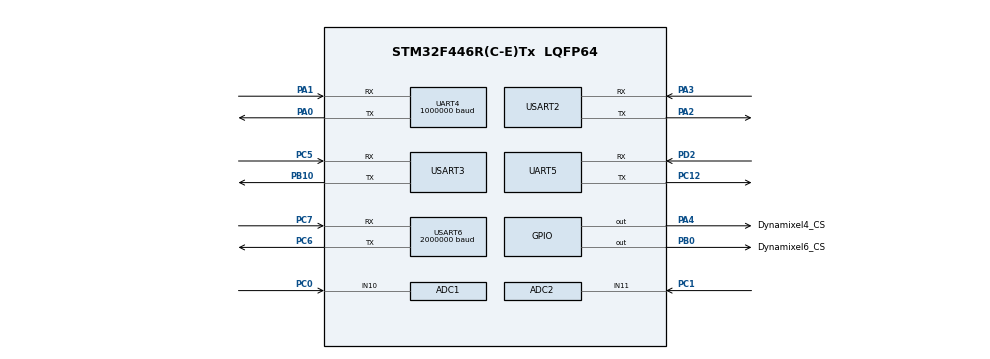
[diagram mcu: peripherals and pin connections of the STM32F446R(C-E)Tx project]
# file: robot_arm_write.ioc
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ADC1.Channel-0\#ChannelRegularConversion=ADC_CHANNEL_10
ADC1.NbrOfConversionFlag=1
ADC1.Rank-0\#ChannelRegularConversion=1
ADC1.SamplingTime-0\#ChannelRegularConversion=ADC_SAMPLETIME_480CYCLES
ADC1.master=1
ADC2.Channel-0\#ChannelRegularConversion=ADC_CHANNEL_11
ADC2.NbrOfConversionFlag=1
ADC2.Rank-0\#ChannelRegularConversion=1
ADC2.SamplingTime-0\#ChannelRegularConversion=ADC_SAMPLETIME_480CYCLES
Dma.Request0=USART6_TX
Dma.Request1=UART4_RX
Dma.Request2=UART4_TX
Dma.Request3=USART6_RX
Dma.Request4=USART2_RX
Dma.Request5=USART2_TX
Dma.UART4_RX.1.Direction=DMA_PERIPH_TO_MEMORY
Dma.UART4_RX.1.FIFOMode=DMA_FIFOMODE_DISABLE
Dma.UART4_RX.1.Instance=DMA1_Stream2
Dma.UART4_RX.1.MemDataAlignment=DMA_MDATAALIGN_BYTE
Dma.UART4_RX.1.MemInc=DMA_MINC_ENABLE
Dma.UART4_RX.1.Mode=DMA_NORMAL
Dma.UART4_RX.1.PeriphDataAlignment=DMA_PDATAALIGN_BYTE
Dma.UART4_RX.1.PeriphInc=DMA_PINC_DISABLE
Dma.UART4_RX.1.Priority=DMA_PRIORITY_LOW
Dma.UART4_TX.2.Direction=DMA_MEMORY_TO_PERIPH
Dma.UART4_TX.2.FIFOMode=DMA_FIFOMODE_DISABLE
Dma.UART4_TX.2.Instance=DMA1_Stream4
Dma.UART4_TX.2.MemDataAlignment=DMA_MDATAALIGN_BYTE
Dma.UART4_TX.2.MemInc=DMA_MINC_ENABLE
Dma.UART4_TX.2.Mode=DMA_NORMAL
Dma.UART4_TX.2.PeriphDataAlignment=DMA_PDATAALIGN_BYTE
Dma.UART4_TX.2.PeriphInc=DMA_PINC_DISABLE
Dma.UART4_TX.2.Priority=DMA_PRIORITY_LOW
Dma.USART2_RX.4.Direction=DMA_PERIPH_TO_MEMORY
Dma.USART2_RX.4.FIFOMode=DMA_FIFOMODE_DISABLE
Dma.USART2_RX.4.Instance=DMA1_Stream5
Dma.USART2_RX.4.MemDataAlignment=DMA_MDATAALIGN_BYTE
Dma.USART2_RX.4.MemInc=DMA_MINC_ENABLE
Dma.USART2_RX.4.Mode=DMA_NORMAL
Dma.USART2_RX.4.PeriphDataAlignment=DMA_PDATAALIGN_BYTE
Dma.USART2_RX.4.PeriphInc=DMA_PINC_DISABLE
Dma.USART2_RX.4.Priority=DMA_PRIORITY_LOW
Dma.USART2_TX.5.Direction=DMA_MEMORY_TO_PERIPH
Dma.USART2_TX.5.FIFOMode=DMA_FIFOMODE_DISABLE
Dma.USART2_TX.5.Instance=DMA1_Stream6
Dma.USART2_TX.5.MemDataAlignment=DMA_MDATAALIGN_BYTE
Dma.USART2_TX.5.MemInc=DMA_MINC_ENABLE
Dma.USART2_TX.5.Mode=DMA_NORMAL
Dma.USART2_TX.5.PeriphDataAlignment=DMA_PDATAALIGN_BYTE
Dma.USART2_TX.5.PeriphInc=DMA_PINC_DISABLE
Dma.USART2_TX.5.Priority=DMA_PRIORITY_LOW
Dma.USART6_RX.3.Direction=DMA_PERIPH_TO_MEMORY
Dma.USART6_RX.3.FIFOMode=DMA_FIFOMODE_DISABLE
Dma.USART6_RX.3.Instance=DMA2_Stream1
Dma.USART6_RX.3.MemDataAlignment=DMA_MDATAALIGN_BYTE
Dma.USART6_RX.3.MemInc=DMA_MINC_ENABLE
Dma.USART6_RX.3.Mode=DMA_NORMAL
Dma.USART6_RX.3.PeriphDataAlignment=DMA_PDATAALIGN_BYTE
Dma.USART6_RX.3.PeriphInc=DMA_PINC_DISABLE
Dma.USART6_RX.3.Priority=DMA_PRIORITY_LOW
Dma.USART6_TX.0.Direction=DMA_MEMORY_TO_PERIPH
Dma.USART6_TX.0.FIFOMode=DMA_FIFOMODE_DISABLE
Dma.USART6_TX.0.Instance=DMA2_Stream6
Dma.USART6_TX.0.MemDataAlignment=DMA_MDATAALIGN_BYTE
Dma.USART6_TX.0.MemInc=DMA_MINC_ENABLE
Dma.USART6_TX.0.Mode=DMA_NORMAL
Dma.USART6_TX.0.PeriphDataAlignment=DMA_PDATAALIGN_BYTE
Dma.USART6_TX.0.PeriphInc=DMA_PINC_DISABLE
Dma.USART6_TX.0.Priority=DMA_PRIORITY_LOW
Mcu.Family=STM32F4
Mcu.Name=STM32F446R(C-E)Tx
Mcu.Package=LQFP64
NVIC.DMA1_Stream2_IRQn=true\:0\:0\:false\:false\:true\:false\:true\:true
NVIC.DMA1_Stream4_IRQn=true\:0\:0\:false\:false\:true\:false\:true\:true
NVIC.DMA1_Stream5_IRQn=true\:0\:0\:false\:false\:true\:false\:true\:true
NVIC.DMA1_Stream6_IRQn=true\:0\:0\:false\:false\:true\:false\:true\:true
NVIC.DMA2_Stream1_IRQn=true\:0\:0\:false\:false\:true\:false\:true\:true
NVIC.DMA2_Stream6_IRQn=true\:0\:0\:false\:false\:true\:false\:true\:true
NVIC.PriorityGroup=NVIC_PRIORITYGROUP_0
NVIC.TIM1_UP_TIM10_IRQn=true\:0\:0\:false\:false\:true\:true\:true\:true
NVIC.UART4_IRQn=true\:0\:0\:false\:false\:true\:true\:true\:true
NVIC.UART5_IRQn=true\:0\:0\:false\:false\:true\:true\:true\:true
NVIC.USART3_IRQn=true\:0\:0\:false\:false\:true\:true\:true\:true
NVIC.USART6_IRQn=true\:0\:0\:false\:false\:true\:true\:true\:true
PA0-WKUP.Mode=Asynchronous
PA0-WKUP.Signal=UART4_TX
PA1.Mode=Asynchronous
PA1.Signal=UART4_RX
PA2.Mode=Asynchronous
PA2.Signal=USART2_TX
PA3.Mode=Asynchronous
PA3.Signal=USART2_RX
PA4.GPIO_Label=Dynamixel4_CS
PA4.GPIO_PuPd=GPIO_PULLDOWN
PA4.GPIO_Speed=GPIO_SPEED_FREQ_HIGH
PA4.Signal=GPIO_Output
PB0.GPIO_Label=Dynamixel6_CS
PB0.GPIO_PuPd=GPIO_PULLDOWN
PB0.GPIO_Speed=GPIO_SPEED_FREQ_HIGH
PB0.Signal=GPIO_Output
PB10.Mode=Asynchronous
PB10.Signal=USART3_TX
PC0.Signal=ADCx_IN10
PC1.Signal=ADCx_IN11
PC12.Mode=Asynchronous
PC12.Signal=UART5_TX
PC14-OSC32_IN.Mode=LSE-External-Oscillator
PC14-OSC32_IN.Signal=RCC_OSC32_IN
PC15-OSC32_OUT.Mode=LSE-External-Oscillator
PC15-OSC32_OUT.Signal=RCC_OSC32_OUT
PC5.Mode=Asynchronous
PC5.Signal=USART3_RX
PC6.Mode=Asynchronous
PC6.Signal=USART6_TX
PC7.Mode=Asynchronous
PC7.Signal=USART6_RX
PD2.Mode=Asynchronous
PD2.Signal=UART5_RX
PH0-OSC_IN.Mode=HSE-External-Clock-Source
PH0-OSC_IN.Signal=RCC_OSC_IN
PH1-OSC_OUT.Mode=HSE-External-Clock-Source
PH1-OSC_OUT.Signal=RCC_OSC_OUT
ProjectManager.HeapSize=0x200
ProjectManager.StackSize=0x400
ProjectManager.TargetToolchain=STM32CubeIDE
RCC.AHBFreq_Value=180000000
RCC.APB1CLKDivider=RCC_HCLK_DIV4
RCC.APB1Freq_Value=45000000
RCC.APB1TimFreq_Value=90000000
RCC.APB2CLKDivider=RCC_HCLK_DIV2
RCC.APB2Freq_Value=90000000
RCC.APB2TimFreq_Value=180000000
RCC.CortexFreq_Value=180000000
RCC.HCLKFreq_Value=180000000
RCC.HSE_VALUE=8000000
RCC.PLLM=4
RCC.PLLN=180
RCC.PLLSourceVirtual=RCC_PLLSOURCE_HSE
RCC.SYSCLKFreq_VALUE=180000000
RCC.SYSCLKSource=RCC_SYSCLKSOURCE_PLLCLK
RCC.USBFreq_Value=180000000
RCC.VCOOutputFreq_Value=360000000
SH.ADCx_IN10.0=ADC1_IN10,IN10
SH.ADCx_IN11.0=ADC2_IN11,IN11
TIM1.Period=60000
TIM1.Prescaler=29
UART4.BaudRate=1000000
UART4.VirtualMode=Asynchronous
UART5.VirtualMode=Asynchronous
USART2.VirtualMode=VM_ASYNC
USART3.VirtualMode=VM_ASYNC
USART6.BaudRate=2000000
USART6.VirtualMode=VM_ASYNC
VP_TIM1_VS_ClockSourceINT.Mode=Internal
board=custom

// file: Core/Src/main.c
/* USER CODE BEGIN Header */
/**
  ******************************************************************************
  * @file           : main.c
  * @brief          : Main program body
  ******************************************************************************
  * @attention
  *
  * Copyright (c) 2025 STMicroelectronics.
  * All rights reserved.
  *
  * This software is licensed under terms that can be found in the LICENSE file
  * in the root directory of this software component.
  * If no LICENSE file comes with this software, it is provided AS-IS.
  *
  ******************************************************************************
  */
/* USER CODE END Header */
#include "main.h"
#include "adc.h"
#include "dma.h"
#include "tim.h"
#include "usart.h"
#include "gpio.h"

/* USER CODE BEGIN Includes */
#include <stdlib.h>
#include <stdbool.h>
#include <math.h>
#include <stdio.h>
#include "mainpp.h"
#include "Mx106v2.h"
#include "Mx106v2_CRC.h"
#include "stm32f4xx_it.h"
#include "motor_control.h"
#include "ROS2STM.h"
#include "ps4_parser.h"
#include "inv_kine.h"
#include "init.h"
#include "pressure_sensor.h"
/* USER CODE END Includes */

/* USER CODE BEGIN PV */
_Bool start_trans_mx = 0;

/* USER CODE END PV */

void SystemClock_Config(void);

/* USER CODE BEGIN 0 */
//int32_t cmd[3] = {0, 100, 200};
//int32_t cmd1[3] = {0, 0, 0};
//int32_t pos_cmd[2] = {50/0.088, 320/0.088};
//int32_t vel_cmd[2] = {10, 50};
//uint8_t ID_list[2] = {1, 2};
/* USER CODE END 0 */

int main(void)
{

  /* USER CODE BEGIN 1 */
	LL_APB1_GRP1_EnableClock(LL_APB1_GRP1_PERIPH_USART3);
	LL_APB2_GRP1_EnableClock(LL_APB2_GRP1_PERIPH_SYSCFG);
	LL_APB1_GRP1_EnableClock(LL_APB1_GRP1_PERIPH_PWR);
  /* USER CODE END 1 */

  /* MCU Configuration--------------------------------------------------------*/

  /* Reset of all peripherals, Initializes the Flash interface and the Systick. */
  LL_APB2_GRP1_EnableClock(LL_APB2_GRP1_PERIPH_SYSCFG);
  LL_APB1_GRP1_EnableClock(LL_APB1_GRP1_PERIPH_PWR);

  /* System interrupt init*/
  NVIC_SetPriorityGrouping(NVIC_PRIORITYGROUP_0);

  /* Configure the system clock */
  SystemClock_Config();

  /* USER CODE BEGIN SysInit */
  LL_Init1msTick(180000000);			//Add here to fix MX generated code
  LL_SYSTICK_SetClkSource(LL_SYSTICK_CLKSOURCE_HCLK);
  LL_SYSTICK_EnableIT();
  /* USER CODE END SysInit */

  /* Initialize all configured peripherals */
  MX_GPIO_Init();
  MX_DMA_Init();
  MX_USART2_UART_Init();
  MX_TIM1_Init();
  MX_UART4_Init();
  MX_USART6_UART_Init();
  MX_UART5_Init();
  MX_USART3_UART_Init();
  MX_ADC1_Init();
  MX_ADC2_Init();
  /* USER CODE BEGIN 2 */
//  init();
  LL_ADC_Enable(ADC1);
  LL_mDelay(10);
  LL_ADC_Enable(ADC2);
  LL_mDelay(10);
  /* USER CODE END 2 */

  /* Infinite loop */
  /* USER CODE BEGIN WHILE */
  while (1)
  {
	uint16_t adc_val_1 = Read_Pressure_Right();
	float percent_1 = ((float)adc_val_1 / 4095.0f) * 100.0f;
	printf("ADC1: %u, Pressure: %.1f %%\r\n", adc_val_1, percent_1);
	LL_mDelay(500);
	uint16_t adc_val_2 = Read_Pressure_Left();
	float percent_2 = ((float)adc_val_2 / 4095.0f) * 100.0f;
	printf("ADC2: %u, Pressure: %.1f %%\r\n", adc_val_2, percent_2);
	LL_mDelay(500);
//	loop_check_uart5(uart5_rx_buffer, &uart5_packet_ready);
//	if (data_ready)
//	{
//		data_ready = 0;
//	  	printf("interrupt\r\n");
//	  	parse_and_control((char *)rx_buffer);  // 呼叫解析與控制函數
//	}
    /* USER CODE END WHILE */

  }
}

void SystemClock_Config(void)
{
  LL_FLASH_SetLatency(LL_FLASH_LATENCY_5);
  while(LL_FLASH_GetLatency()!= LL_FLASH_LATENCY_5)
  {
  }
  LL_PWR_SetRegulVoltageScaling(LL_PWR_REGU_VOLTAGE_SCALE1);
  LL_PWR_EnableOverDriveMode();
  LL_RCC_HSE_EnableBypass();
  LL_RCC_HSE_Enable();

   /* Wait till HSE is ready */
  while(LL_RCC_HSE_IsReady() != 1)
  {

  }
  LL_RCC_PLL_ConfigDomain_SYS(LL_RCC_PLLSOURCE_HSE, LL_RCC_PLLM_DIV_4, 180, LL_RCC_PLLP_DIV_2);
  LL_RCC_PLL_Enable();

   /* Wait till PLL is ready */
  while(LL_RCC_PLL_IsReady() != 1)
  {

  }
  while (LL_PWR_IsActiveFlag_VOS() == 0)
  {
  }
  LL_RCC_SetAHBPrescaler(LL_RCC_SYSCLK_DIV_1);
  LL_RCC_SetAPB1Prescaler(LL_RCC_APB1_DIV_4);
  LL_RCC_SetAPB2Prescaler(LL_RCC_APB2_DIV_2);
  LL_RCC_SetSysClkSource(LL_RCC_SYS_CLKSOURCE_PLL);

   /* Wait till System clock is ready */
  while(LL_RCC_GetSysClkSource() != LL_RCC_SYS_CLKSOURCE_STATUS_PLL)
  {

  }
  LL_Init1msTick(180000000);
  LL_SetSystemCoreClock(180000000);
  LL_RCC_SetTIMPrescaler(LL_RCC_TIM_PRESCALER_TWICE);
}

/* USER CODE BEGIN 4 */
int _write(int file, char *ptr, int len) {
	int DataIdx;
	for(DataIdx = 0; DataIdx < len; DataIdx++) {
		LL_USART_TransmitData8(USART2, (uint8_t)*ptr++);
		while(LL_USART_IsActiveFlag_TXE(USART2) == RESET)
			;
	}
	return len;
}
/* USER CODE END 4 */

void Error_Handler(void)
{
  __disable_irq();
  while (1)
  {
  }
}
